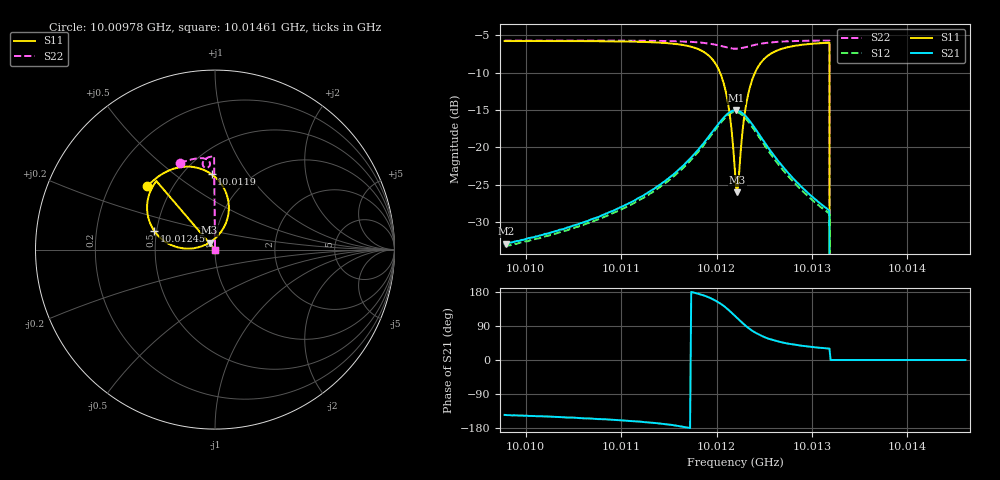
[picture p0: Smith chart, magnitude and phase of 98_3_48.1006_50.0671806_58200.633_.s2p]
#  HZ  S  RI  R  50.00
! Rohde & Schwarz Vector Network Analyzer
! Rohde-Schwarz,ZNB20-2Port,1311601062101988,3.16
! Created: UTC 12/23/2023, 3:44:29 AM
! freq[Hz]  re:S11  im:S11  re:S21  im:S21  re:S12  im:S12  re:S22  im:S22
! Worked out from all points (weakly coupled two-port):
!   401 points, 10.00978 GHz to 10.01461 GHz, reference 50 ohm
!   highest |S21| = -15.04 dB at 10.01221 GHz (marker M1); lowest = -32.9 dB at 10.00979 GHz (marker M2)
!   lowest |S11| = -26.0 dB at 10.01222 GHz (marker M3), VSWR 1.11, Z = 46.9 + j3.71 ohm
!   |S11| at or under -10 dB: 10.01204 GHz to 10.0124 GHz (365.8 kHz wide, 0.00365 % of centre); 10.01318 GHz to end of sweep
!   |S22| runs from - to -5.7 dB; largest |S21 - S12| = 0.0085
!   S11 on the Smith chart (normalised r, x): 10.00978 GHz: 0.36, +0.35; 10.0119 GHz: 0.68, +0.69; 10.01245 GHz: 0.48, +0.12; 10.01461 GHz: 1.00, +0.00
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1.000978e10  -0.377 0.3518  -0.0185 -0.013  -0.0171 -0.0133  -0.1949 0.4804
1.0009792e10  -0.3763 0.3526  -0.0185 -0.0129  -0.0171 -0.0134  -0.1941 0.4808
1.0010588e10  -0.3216 0.4026  -0.0278 -0.0138  -0.0262 -0.0147  -0.1436 0.4988
1.0011397e10  -0.2169 0.4544  -0.0542 -0.0122  -0.0516 -0.0144  -0.0849 0.5095
1.0011904e10  -0.0185 0.4192  -0.1115 0.026  -0.1095 0.0199  -0.0369 0.4967
1.0012012e10  0.0516 0.3388  -0.126 0.0636  -0.1261 0.0557  -0.0286 0.4828
1.0012085e10  0.0773 0.242  -0.1245 0.1013  -0.126 0.093  -0.0288 0.4704
1.0012145e10  0.0582 0.1415  -0.1056 0.1367  -0.109 0.1289  -0.0353 0.4605
1.0012193e10  0.00612 0.0677  -0.0783 0.1587  -0.0821 0.1517  -0.0446 0.4559
1.0012205e10  -0.012 0.0522  -0.0699 0.1626  -0.0741 0.1556  -0.0471 0.4557
1.0012217e10  -0.0305 0.0394  -0.0618 0.1652  -0.0657 0.1587  -0.0498 0.4556
1.001223e10  -0.0513 0.0279  -0.0532 0.1673  -0.0571 0.161  -0.0522 0.4561
1.0012278e10  -0.1381 0.00567  -0.0184 0.1671  -0.0222 0.1613  -0.0614 0.4606
1.0012314e10  -0.1999 0.0108  0.00452 0.1594  -0.00072 0.1538  -0.0661 0.4661
1.0012374e10  -0.281 0.0465  0.0318 0.1387  0.026 0.1344  -0.069 0.4767
1.0012447e10  -0.3397 0.1062  0.048 0.1121  0.0423 0.1088  -0.0671 0.4881
1.001264e10  -0.3783 0.2379  0.0532 0.0621  0.0486 0.061  -0.0512 0.5069
1.0013002e10  -0.3466 0.3529  0.0385 0.0264  0.0354 0.0267  -0.0194 0.5183
1.0013159e10  -0.3294 0.3791  0.0332 0.0196  0.0307 0.0203  -0.007 0.5201
1.0013219e10  0 0  0 0  0 0  0 0
1.001381e10  0 0  0 0  0 0  0 0
1.0014607e10  0 0  0 0  0 0  0 0
